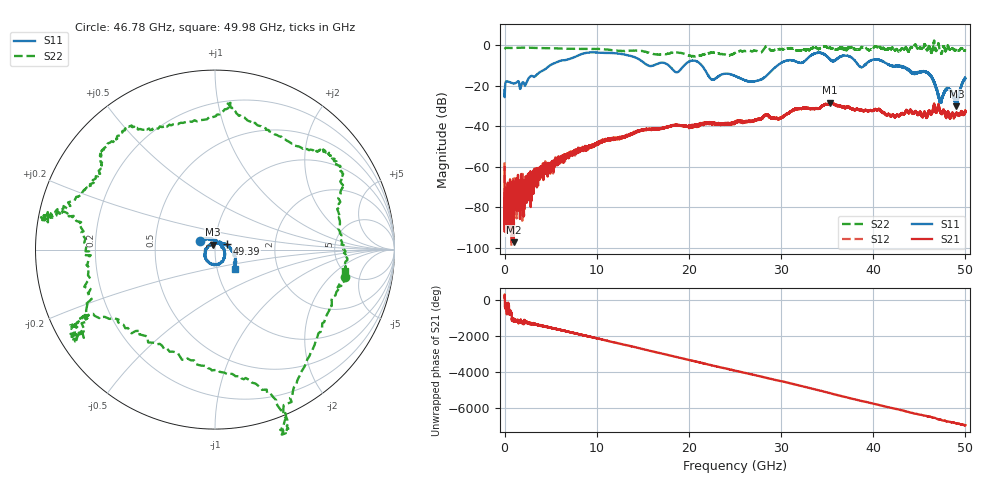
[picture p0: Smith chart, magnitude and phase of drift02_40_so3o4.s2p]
!Created with skrf (http://scikit-rf.org).
# Hz S RI R 50.0
!freq ReS11 ImS11 ReS21 ImS21 ReS12 ImS12 ReS22 ImS22
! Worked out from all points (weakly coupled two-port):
!   10001 points, 300 kHz to 50 GHz, reference 50 ohm
!   highest |S21| = -28.50 dB at 35.32 GHz (marker M1); lowest = -97.4 dB at 980.3 MHz (marker M2)
!   lowest |S11| = -30.2 dB at 49.02 GHz (marker M3), VSWR 1.06, Z = 48.7 + j2.77 ohm
!   |S11| at or under -10 dB: start of sweep to 4.957 GHz; 21.38 GHz to 29.63 GHz (8.25 GHz wide, 32.3 % of centre); 41.87 GHz to end of sweep (the widest 3 of 11)
!   |S22| runs from -5.7 to 2.2 dB; largest |S21 - S12| = 0.0032
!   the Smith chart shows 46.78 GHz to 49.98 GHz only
!   S11 on the Smith chart (normalised r, x): 46.78 GHz: 0.84, +0.08; 49.39 GHz: 1.14, +0.07; 49.98 GHz: 1.21, -0.27
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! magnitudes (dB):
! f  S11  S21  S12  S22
! 300 kHz  -22.3  -60.2  -57.9  -2.1
! 265.3 MHz  -17.9  -72.0  -79.1  -1.4
! 980.3 MHz  -19.0  -97.4  -74.5  -1.5
! 8.335 GHz  -4.5  -51.9  -51.4  -1.9
! 16.67 GHz  -9.1  -41.2  -41.5  -4.7
! 18.7 GHz  -13.5  -39.5  -39.5  -3.7
! 20.6 GHz  -7.7  -39.7  -40.0  -5.7
! 22.51 GHz  -17.1  -39.0  -38.9  -3.7
! 25 GHz  -15.3  -38.5  -38.5  -3.9
! 27.45 GHz  -17.6  -36.7  -36.7  -3.1
! 30.22 GHz  -8.3  -35.6  -35.2  -2.1
! 33.34 GHz  -4.9  -31.3  -31.3  -1.6
! 35.32 GHz  -7.1  -28.5  -28.6  -1.3
! 41.67 GHz  -9.7  -34.1  -34.1  -2.0
! 45.78 GHz  -13.5  -35.6  -35.6  -2.0
! 46.78 GHz  -20.2  -33.1  -33.0  -2.6
! 47.27 GHz  -27.2  -33.1  -33.0  -3.3
! 48.14 GHz  -21.4  -33.1  -33.5  -0.9
! 49.02 GHz  -30.2  -33.4  -33.7  -2.0
! 49.39 GHz  -22.6  -34.0  -34.3  -2.6
! 49.98 GHz  -16.3  -32.8  -32.9  -2.7
! 50 GHz  -16.5  -33.2  -32.7  -2.8
